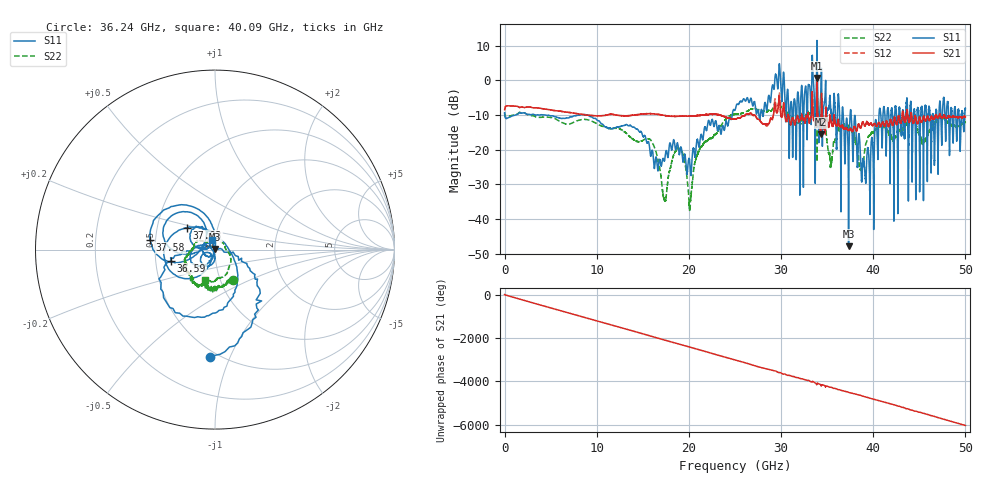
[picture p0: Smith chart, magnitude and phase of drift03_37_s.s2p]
!Created with skrf (http://scikit-rf.org).
# Hz S RI R 50.0
!freq ReS11 ImS11 ReS21 ImS21 ReS12 ImS12 ReS22 ImS22
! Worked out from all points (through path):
!   10001 points, 300 kHz to 50 GHz, reference 50 ohm
!   highest |S21| = 0.74 dB at 33.9 GHz (marker M1); lowest = -15.5 dB at 34.32 GHz (marker M2)
!   group delay of S21, straight-line fit = 335 ps
!   lowest |S11| = -47.8 dB at 37.33 GHz (marker M3), VSWR 1.01, Z = 49.8 + j0.364 ohm
!   |S11| at or under -10 dB: 4.472 GHz to 7.953 GHz (3.481 GHz wide, 56 % of centre); 9.017 GHz to 24.7 GHz (15.68 GHz wide, 93 % of centre); 37.62 GHz to 40.62 GHz (3.005 GHz wide, 7.68 % of centre) (the widest 3 of 63)
!   |S22| runs from -37.5 to -5.9 dB; largest |S21 - S12| = 0.11
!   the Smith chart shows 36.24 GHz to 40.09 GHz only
!   S11 on the Smith chart (normalised r, x): 36.24 GHz: 0.45, -0.84; 36.59 GHz: 0.60, -0.08; 37.03 GHz: 0.71, +0.18; 37.58 GHz: 0.47, +0.06; 40.09 GHz: 0.96, +0.11
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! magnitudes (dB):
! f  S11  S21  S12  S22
! 300 kHz  -9.3  -8.4  -8.4  -9.3
! 8.335 GHz  -9.9  -9.8  -9.8  -11.3
! 16.67 GHz  -25.6  -9.8  -9.8  -23.3
! 17.38 GHz  -22.8  -10.1  -10.1  -34.6
! 19.06 GHz  -20.0  -10.3  -10.4  -20.0
! 20.12 GHz  -24.3  -10.3  -10.3  -36.0
! 21.18 GHz  -18.0  -10.1  -10.1  -19.7
! 25 GHz  -8.6  -11.1  -11.1  -9.8
! 31.08 GHz  -6.1  -12.7  -12.7  -10.5
! 33.34 GHz  0.6  -7.5  -7.5  -9.5
! 33.9 GHz  11.5  0.7  0.3  -23.5
! 34.32 GHz  -2.9  -15.5  -14.9  -11.2
! 35.35 GHz  -6.5  -10.5  -10.0  -24.3
! 36.24 GHz  -4.5  -11.8  -11.7  -14.1
! 36.59 GHz  -12.0  -13.1  -13.0  -13.3
! 37.03 GHz  -14.1  -13.9  -14.0  -14.0
! 37.33 GHz  -47.8  -14.3  -14.5  -13.7
! 37.58 GHz  -8.7  -13.9  -13.8  -14.0
! 38.71 GHz  -27.2  -13.4  -13.3  -25.4
! 40.09 GHz  -24.8  -12.6  -12.7  -15.0
! 41.67 GHz  -9.6  -13.3  -13.3  -15.1
! 50 GHz  -8.1  -10.5  -10.5  -12.1
